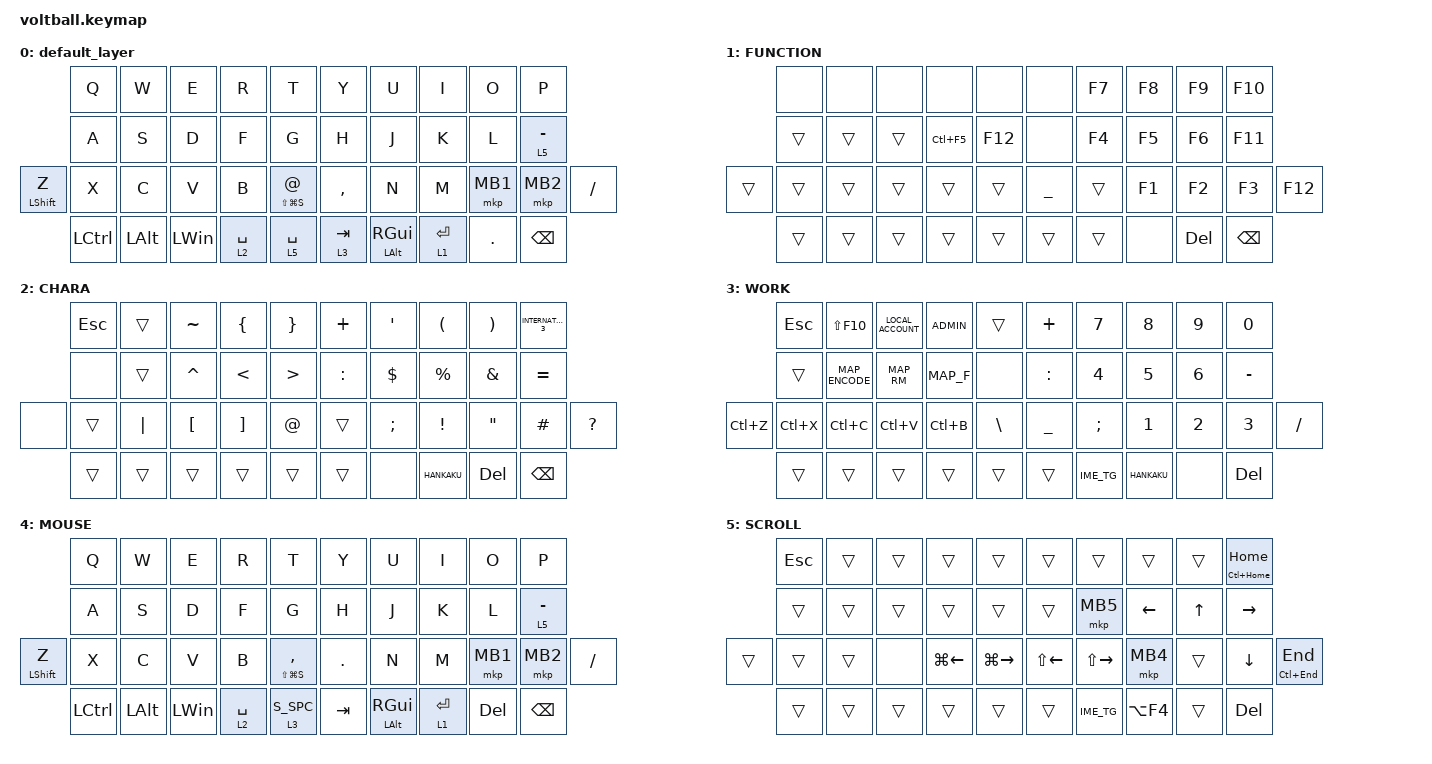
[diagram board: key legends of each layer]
#include <input/processors.dtsi>
#include <dt-bindings/zmk/input_transform.h>
#include <zephyr/dt-bindings/input/input-event-codes.h>
#include <behaviors.dtsi>
#include <dt-bindings/zmk/bt.h>
#include <dt-bindings/zmk/keys.h>
#include <dt-bindings/zmk/pointing.h>

/ {
    combos {
        compatible = "zmk,combos";

        BT1 {
            bindings = <&bt BT_SEL 0>;
            key-positions = <5 7>;
        };

        BT2 {
            bindings = <&bt BT_SEL 1>;
            key-positions = <15 17>;
        };

        BT3 {
            bindings = <&bt BT_SEL 2>;
            key-positions = <6 8>;
        };

        BT4 {
            bindings = <&bt BT_SEL 3>;
            key-positions = <16 18>;
        };

        BT_CL_A {
            bindings = <&bt BT_CLR_ALL>;
            key-positions = <27 31>;
        };

        BT_CL {
            bindings = <&bt BT_CLR>;
            key-positions = <5 9>;
        };

        PIN {
            bindings = <&PIN>;
            key-positions = <0 10>;
        };

        PW {
            bindings = <&PW>;
            key-positions = <32 20>;
        };

        MIDDLE_CLICK {
            bindings = <&mkp MB3>;
            key-positions = <29 30>;
        };
    };

    macros {
        S_SPC: S_SPC {
            compatible = "zmk,behavior-macro";
            #binding-cells = <0>;
            bindings = <&macro_tap &kp LS(SPACE)>;
        };

        // @label: IME切替 | @cat: Windows共通
        IME_TG: IME_TG {
            compatible = "zmk,behavior-macro";
            #binding-cells = <0>;
            bindings = <&macro_tap &kp LA(GRAVE)>;
        };

        // @cat: Windows共通
        PIN: PIN {
            compatible = "zmk,behavior-macro";
            #binding-cells = <0>;
            bindings = <&macro_tap &kp N0 &kp N8 &kp N0 &kp N9 &kp NUMBER_2 &kp N7>;
        };

        // @label: 半角エンター | @cat: Windows共通
        HANKAKU: HANKAKU {
            compatible = "zmk,behavior-macro";
            #binding-cells = <0>;
            bindings = <&macro_tap &kp F10 &kp ENTER>;
        };

        // @cat: Windows共通
        PW: PW {
            compatible = "zmk,behavior-macro";
            #binding-cells = <0>;
            bindings = <&macro_tap &kp N7 &kp N7 &kp LBKT &kp LS(G) &kp LS(S) &kp LS(S) &kp LS(G) &kp LS(S) &kp LS(S) &kp N2 &kp N0 &kp N1 &kp N9>;
        };

        // @label: ローカルアカウント作成 | @cat: キッティング
        LOCAL_ACCOUNT: LOCAL_ACCOUNT {
            compatible = "zmk,behavior-macro";
            #binding-cells = <0>;
            bindings = <&macro_tap &kp O &kp O &kp B &kp E &kp BSLH &kp B &kp Y &kp P &kp A &kp S &kp S &kp N &kp R &kp O &kp DOT &kp C &kp M &kp D &kp ENTER>;
        };

        // @label: Adminで進める | @cat: キッティング
        ADMIN: ADMIN {
            compatible = "zmk,behavior-macro";
            #binding-cells = <0>;
            bindings = <&macro_tap &kp A &kp D &kp M &kp I &kp N &kp ENTER>, <&macro_wait_time 1000>, <&macro_tap &kp ENTER>, <&macro_wait_time 6000>, <&macro_tap &kp ENTER &kp ENTER &kp ENTER &kp ENTER>;
        };

        // @label: RM | @cat: マップ作成
        MAP_RM: MAP_RM {
            compatible = "zmk,behavior-macro";
            #binding-cells = <0>;
            bindings = <&macro_tap &kp LS(R) &kp LS(M)>;
        };

        // @label: F | @cat: マップ作成
        MAP_F: MAP_F {
            compatible = "zmk,behavior-macro";
            #binding-cells = <0>;
            bindings = <&macro_tap &kp LS(F)>;
        };

        // @label: MAP出力 | @cat: マップ作成
        MAP_ENCODE: MAP_ENCODE {
            compatible = "zmk,behavior-macro";
            #binding-cells = <0>;
            bindings = <&macro_tap &kp LS(LA(F12))>;
        };
    };

    behaviors {
        lt_sspc: lt_sspc {
            compatible = "zmk,behavior-hold-tap";
            label = "LT_SSPC";
            bindings = <&mo>, <&S_SPC>;

            #binding-cells = <2>;
            tapping-term-ms = <200>;
            quick-tap-ms = <180>;
        };

        hm: hm {
            compatible = "zmk,behavior-hold-tap";
            label = "HM";
            bindings = <&kp>, <&kp>;

            #binding-cells = <2>;
            quick-tap-ms = <180>;
            flavor = "tap-preferred";
            hold-trigger-on-release;
            tapping-term-ms = <300>;
        };

        ltq: ltq {
            compatible = "zmk,behavior-hold-tap";
            label = "LTQ";
            bindings = <&mo>, <&kp>;

            #binding-cells = <2>;
            tapping-term-ms = <200>;
            quick-tap-ms = <180>;
        };
    };

    keymap {
        compatible = "zmk,keymap";

        default_layer {
            bindings = <
                &kp Q  &kp W  &kp E  &kp R  &kp T  &kp Y  &kp U  &kp I  &kp O  &kp P
                &kp A  &kp S  &kp D  &kp F  &kp G  &kp H  &kp J  &kp K  &kp L  &lt 5 MINUS
                &mt LEFT_SHIFT Z  &kp X  &kp C  &kp V  &kp B  &mt LS(LG(S)) AT_SIGN  &kp COMMA  &kp N  &kp M  &mkp MB1  &mkp MB2  &kp SLASH
                &kp LCTRL  &kp LEFT_ALT  &kp LEFT_WIN  &lt 2 SPACE  &ltq 5 SPACE  &lt 3 TAB  &mt LEFT_ALT RIGHT_GUI  &ltq 1 ENTER  &kp PERIOD  &kp BACKSPACE
            >;
        };

        FUNCTION {
            bindings = <
                &none  &none  &none  &none  &none  &none  &kp F7  &kp F8  &kp F9  &kp F10
                &trans  &trans  &trans  &kp LC(F5)  &kp F12  &none  &kp F4  &kp F5  &kp F6  &kp F11
                &trans  &trans  &trans  &trans  &trans  &trans  &kp UNDERSCORE  &trans  &kp F1  &kp F2  &kp F3  &kp F12
                &trans  &trans  &trans  &trans  &trans  &trans  &trans  &none  &kp DELETE  &kp BACKSPACE
            >;
        };

        CHARA {
            bindings = <
                &kp ESC  &trans  &kp TILDE  &kp LEFT_BRACE  &kp RIGHT_BRACE  &kp PLUS  &kp SQT  &kp LEFT_PARENTHESIS  &kp RIGHT_PARENTHESIS  &kp INTERNATIONAL_3
                &none  &trans  &kp CARET  &kp LESS_THAN  &kp GREATER_THAN  &kp COLON  &kp DOLLAR  &kp PERCENT  &kp AMPERSAND  &kp EQUAL
                &none  &trans  &kp PIPE  &kp LEFT_BRACKET  &kp RIGHT_BRACKET  &kp AT  &trans  &kp SEMICOLON  &kp EXCLAMATION  &kp DOUBLE_QUOTES  &kp HASH  &kp QUESTION
                &trans  &trans  &trans  &trans  &trans  &trans  &none  &HANKAKU  &kp DELETE  &kp BACKSPACE
            >;
        };

        WORK {
            bindings = <
                &kp ESC  &kp LS(F10)  &LOCAL_ACCOUNT  &ADMIN  &trans  &kp PLUS  &kp N7  &kp N8  &kp N9  &kp N0
                &trans  &MAP_ENCODE  &MAP_RM  &MAP_F  &none  &kp COLON  &kp N4  &kp N5  &kp N6  &kp MINUS
                &kp LC(Z)  &kp LC(X)  &kp LC(C)  &kp LC(V)  &kp LC(B)  &kp BACKSLASH  &kp UNDERSCORE  &kp SEMI  &kp N1  &kp N2  &kp N3  &kp FSLH
                &trans  &trans  &trans  &trans  &trans  &trans  &IME_TG  &HANKAKU  &none  &kp DELETE
            >;
        };

        MOUSE {
            bindings = <
                &kp Q  &kp W  &kp E  &kp R  &kp T  &kp Y  &kp U  &kp I  &kp O  &kp P
                &kp A  &kp S  &kp D  &kp F  &kp G  &kp H  &kp J  &kp K  &kp L  &lt 5 MINUS
                &mt LEFT_SHIFT Z  &kp X  &kp C  &kp V  &kp B  &mt LS(LG(S)) COMMA  &kp PERIOD  &kp N  &kp M  &mkp MB1  &mkp MB2  &kp SLASH
                &kp LCTRL  &kp LEFT_ALT  &kp LEFT_WIN  &lt 2 SPACE  &lt_sspc 3 0  &kp TAB  &mt LEFT_ALT RIGHT_GUI  &ltq 1 ENTER  &kp DELETE  &kp BACKSPACE
            >;
        };

        SCROLL {
            bindings = <
                &kp ESCAPE  &trans  &trans  &trans  &trans  &trans  &trans  &trans  &trans  &mt LC(HOME) HOME
                &trans  &trans  &trans  &trans  &trans  &trans  &mkp MB5  &kp LEFT  &kp UP_ARROW  &kp RIGHT
                &trans  &trans  &trans  &none  &kp LG(LEFT)  &kp LG(RIGHT)  &kp LS(LEFT_ARROW)  &kp LS(RIGHT)  &mkp MB4  &trans  &kp DOWN_ARROW  &mt LC(END) END
                &trans  &trans  &trans  &trans  &trans  &trans  &IME_TG  &kp LA(F4)  &trans  &kp DELETE
            >;
        };
    };
};
